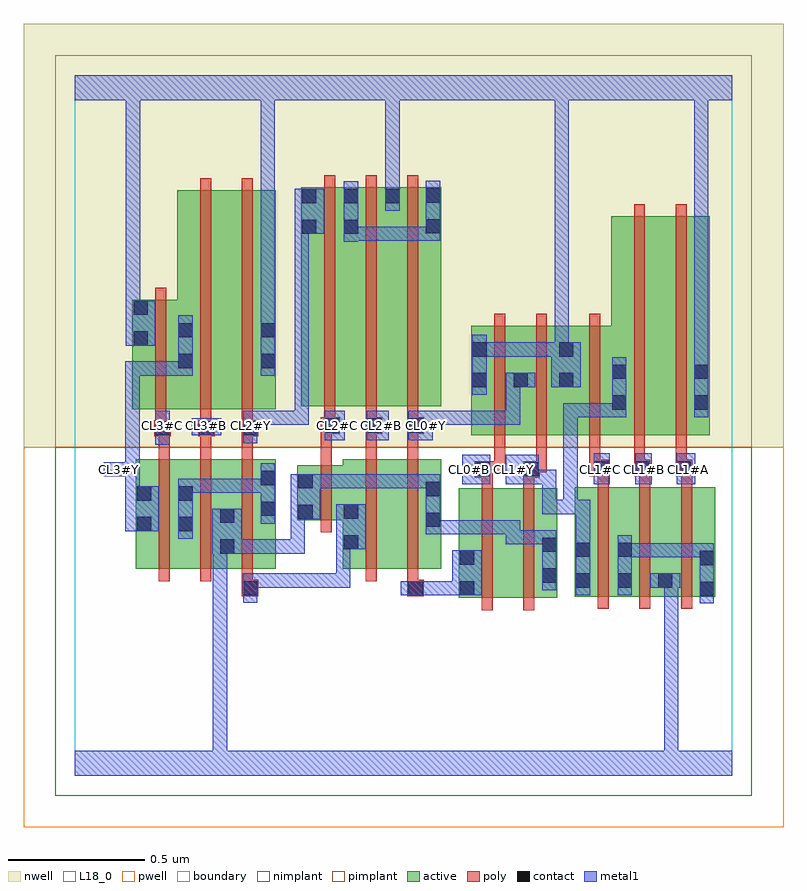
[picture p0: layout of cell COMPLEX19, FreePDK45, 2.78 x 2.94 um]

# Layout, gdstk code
import gdstk
lib = gdstk.Library(unit=1e-6, precision=1e-09)
def R(c, l, rs):  # rectangles x0, y0, x1, y1
    for r in rs: c.add(gdstk.rectangle(r[:2], r[2:], *l))
def A(c, l, x, y, w, h, nx, ny, dx, dy):  # array of equal rectangles
    R(c, l, [(x+i*dx, y+j*dy, x+i*dx+w, y+j*dy+h) for i in range(nx) for j in range(ny)])
active = (1, 0)
pwell = (2, 0)
nwell = (3, 0)
nimplant = (4, 0)
pimplant = (5, 0)
poly = (9, 0)
contact = (10, 0)
metal1 = (11, 0)
L18_0 = (18, 0)
boundary = (235, 0)

complex19 = lib.new_cell('COMPLEX19')
A(complex19, active, 0.222, 0.756, 0.06, 0.4, 3, 1, 0.152, 0)
R(complex19, active, [(1.402,0.65,1.462,1.05), (1.402,0.65,1.582,1.05), (1.582,0.65,1.762,1.05), (1.826,0.654,1.886,1.054), (1.826,0.654,2.038,1.054), (1.978,0.654,2.186,1.054), (2.126,0.654,2.186,1.054), (2.126,0.654,2.338,1.054), (2.278,0.654,2.338,1.054), (1.978,0.684,2.038,0.856), (1.702,0.702,1.762,1.05), (0.222,0.756,0.434,1.156), (0.374,0.756,0.586,1.156), (0.526,0.756,0.734,1.156), (0.674,0.756,0.734,1.156), (0.978,0.756,1.158,1.156), (0.978,0.756,1.038,1.134), (1.158,0.756,1.338,1.156), (1.278,0.756,1.338,1.156), (0.812,0.934,1.038,1.134), (0.812,0.934,0.872,1.134), (1.448,1.244,1.508,1.644), (1.448,1.244,1.658,1.644), (1.598,1.244,1.658,1.644), (1.598,1.244,1.824,1.644), (1.764,1.244,1.824,1.644), (1.764,1.244,2.018,1.644), (1.958,1.244,2.138,2.044), (1.958,1.244,2.018,1.74), (2.138,1.244,2.318,2.044), (2.258,1.244,2.318,2.044), (0.21,1.34,0.27,1.74), (0.21,1.34,0.434,1.74), (0.374,1.34,0.434,2.14), (0.374,1.34,0.554,2.14), (0.554,1.34,0.734,2.14), (0.674,1.34,0.734,2.044), (0.826,1.35,0.886,2.15), (0.826,1.35,1.038,2.15), (0.978,1.35,1.19,2.15), (0.978,1.35,1.038,2.148), (1.13,1.35,1.338,2.15), (1.278,1.35,1.338,2.15), (1.13,1.686,1.19,2.15)])
R(complex19, pwell, [(-0.188,-0.188,2.588,1.2)])
R(complex19, nwell, [(-0.188,1.2,2.588,2.748)])
R(complex19, nimplant, [(-0.072,-0.072,2.472,1.2)])
R(complex19, pimplant, [(-0.072,1.2,2.472,2.632)])
A(complex19, poly, 1.91, 0.61, 0.04, 0.488, 3, 1, 0.152, 0)
A(complex19, poly, 0.306, 0.712, 0.04, 0.488, 3, 1, 0.152, 0)
A(complex19, poly, 1.91, 1.058, 0.04, 0.076, 3, 1, 0.152, 0)
A(complex19, poly, 0.306, 1.16, 0.04, 0.12, 3, 1, 0.152, 0)
A(complex19, poly, 0.29, 1.24, 0.06, 0.06, 3, 1, 0.16, 0)
A(complex19, poly, 0.91, 1.27, 0.04, 0.076, 3, 1, 0.152, 0)
A(complex19, poly, 0.91, 1.306, 0.04, 0.888, 3, 1, 0.152, 0)
R(complex19, poly, [(1.486,0.606,1.526,1.094), (1.638,0.606,1.678,1.094), (0.61,0.656,0.67,0.716), (1.214,0.656,1.274,0.716), (0.61,0.676,0.65,0.752), (1.214,0.676,1.254,0.752), (1.062,0.712,1.102,1.2), (1.214,0.712,1.254,1.2), (0.898,0.89,0.938,1.178), (1.486,1.054,1.526,1.13), (1.638,1.054,1.678,1.13), (1.46,1.09,1.526,1.15), (1.638,1.09,1.698,1.15), (1.878,1.094,1.95,1.154), (1.91,1.094,1.95,1.134), (1.91,1.094,1.95,1.134), (2.042,1.094,2.102,1.154), (2.062,1.094,2.102,1.134), (2.062,1.094,2.102,1.134), (2.194,1.094,2.254,1.154), (2.214,1.094,2.254,1.134), (2.214,1.094,2.254,1.134), (1.486,1.11,1.526,1.15), (1.486,1.11,1.572,1.15), (1.532,1.11,1.572,1.24), (1.658,1.11,1.698,1.15), (1.658,1.11,1.724,1.15), (1.684,1.11,1.724,1.24), (1.878,1.114,1.918,1.24), (2.042,1.114,2.082,1.24), (2.194,1.114,2.234,1.24), (0.898,1.138,0.938,1.29), (1.062,1.16,1.102,1.29), (1.214,1.16,1.254,1.29), (1.532,1.2,1.572,1.688), (1.684,1.2,1.724,1.688), (1.878,1.2,1.918,1.688), (2.042,1.2,2.082,2.088), (2.194,1.2,2.234,2.088), (0.61,1.24,0.65,1.28), (0.61,1.24,0.65,1.28), (0.898,1.25,0.968,1.31), (1.062,1.25,1.122,1.31), (1.214,1.25,1.254,1.29), (1.214,1.25,1.254,1.29), (1.214,1.25,1.274,1.31), (0.294,1.26,0.334,1.3), (0.294,1.26,0.334,1.3), (0.294,1.26,0.334,1.336), (0.458,1.26,0.498,1.3), (0.458,1.26,0.498,1.3), (0.458,1.26,0.498,1.336), (0.61,1.26,0.65,1.336), (0.91,1.27,0.95,1.31), (0.91,1.27,0.95,1.31), (1.062,1.27,1.102,1.31), (1.062,1.27,1.102,1.31), (0.294,1.296,0.334,1.784), (0.458,1.296,0.498,2.184), (0.61,1.296,0.65,2.184)])
A(complex19, contact, 1.894, 1.098, 0.052, 0.052, 3, 1, 0.152, 0)
A(complex19, contact, 0.294, 1.244, 0.052, 0.052, 3, 1, 0.16, 0)
A(complex19, contact, 0.83, 2.092, 0.052, 0.052, 3, 1, 0.152, 0)
R(complex19, contact, [(2.282,0.658,2.334,0.71), (0.614,0.66,0.666,0.712), (1.218,0.66,1.27,0.712), (1.406,0.66,1.458,0.712), (1.83,0.688,1.882,0.74), (1.982,0.688,2.034,0.74), (2.13,0.688,2.182,0.74), (1.706,0.706,1.758,0.758), (2.282,0.77,2.334,0.822), (1.406,0.772,1.458,0.824), (1.83,0.8,1.882,0.852), (1.982,0.8,2.034,0.852), (0.53,0.812,0.582,0.864), (1.706,0.818,1.758,0.87), (0.982,0.828,1.034,0.88), (0.226,0.894,0.278,0.946), (0.378,0.894,0.43,0.946), (1.282,0.91,1.334,0.962), (0.53,0.924,0.582,0.976), (0.816,0.938,0.868,0.99), (0.982,0.94,1.034,0.992), (0.678,0.95,0.73,1.002), (0.226,1.006,0.278,1.058), (0.378,1.006,0.43,1.058), (1.282,1.022,1.334,1.074), (0.816,1.05,0.868,1.102), (0.678,1.062,0.73,1.114), (1.464,1.094,1.516,1.146), (1.642,1.094,1.694,1.146), (0.912,1.254,0.964,1.306), (1.066,1.254,1.118,1.306), (1.218,1.254,1.27,1.306), (1.962,1.338,2.014,1.39), (2.262,1.338,2.314,1.39), (1.452,1.42,1.504,1.472), (1.602,1.42,1.654,1.472), (1.768,1.42,1.82,1.472), (1.962,1.45,2.014,1.502), (2.262,1.45,2.314,1.502), (0.378,1.49,0.43,1.542), (0.678,1.49,0.73,1.542), (1.452,1.532,1.504,1.584), (1.768,1.532,1.82,1.584), (0.214,1.572,0.266,1.624), (0.378,1.602,0.43,1.654), (0.678,1.602,0.73,1.654), (0.214,1.684,0.266,1.736), (0.83,1.98,0.882,2.032), (0.982,1.98,1.034,2.032), (1.282,1.982,1.334,2.034), (1.282,2.094,1.334,2.146)])
R(complex19, metal1, [(0,0,2.4,0.092), (0.504,0.04,0.556,0.092), (0.504,0.04,0.556,0.092), (0.504,0.04,0.556,0.092), (0.504,0.04,0.556,0.092), (0.504,0.04,0.556,0.092), (0.504,0.04,0.556,0.092), (0.504,0.04,0.556,0.092), (0.504,0.04,0.556,0.092), (0.504,0.04,0.556,0.092), (0.504,0.04,0.556,0.092), (0.504,0.04,0.556,0.092), (0.504,0.04,0.556,0.092), (0.504,0.04,0.556,0.864), (2.152,0.04,2.204,0.74), (2.282,0.63,2.334,0.85), (0.614,0.632,0.666,0.74), (1.19,0.66,1.298,0.712), (1.246,0.66,1.298,0.712), (1.246,0.66,1.298,0.712), (1.246,0.66,1.43,0.712), (1.378,0.66,1.43,0.712), (1.378,0.66,1.43,0.712), (1.378,0.66,1.486,0.824), (1.83,0.66,1.882,0.88), (1.982,0.66,2.034,0.88), (1.706,0.678,1.758,0.898), (0.614,0.688,0.776,0.74), (0.724,0.688,0.776,0.74), (0.724,0.688,0.776,0.74), (0.724,0.688,0.776,0.74), (0.724,0.688,0.95,0.74), (0.898,0.688,0.95,0.74), (0.898,0.688,1.006,0.74), (0.954,0.688,1.006,0.74), (0.954,0.688,1.006,0.88), (2.102,0.688,2.21,0.74), (2.152,0.688,2.204,0.74), (2.152,0.688,2.204,0.74), (2.152,0.688,2.204,0.74), (2.152,0.688,2.204,0.74), (2.152,0.688,2.204,0.74), (2.152,0.688,2.204,0.74), (2.152,0.688,2.204,0.74), (2.152,0.688,2.204,0.74), (2.152,0.688,2.204,0.74), (2.152,0.688,2.204,0.74), (2.152,0.688,2.204,0.74), (2.152,0.688,2.204,0.74), (1.982,0.798,2.034,0.85), (1.982,0.798,2.034,0.85), (1.982,0.798,2.144,0.85), (2.092,0.798,2.144,0.85), (2.092,0.798,2.334,0.85), (2.282,0.798,2.334,0.85), (2.282,0.798,2.334,0.85), (0.502,0.812,0.61,0.976), (0.558,0.812,0.61,0.864), (0.558,0.812,0.61,0.864), (0.558,0.812,0.84,0.864), (0.788,0.812,0.84,0.864), (0.788,0.812,0.84,0.864), (0.788,0.812,0.84,0.864), (0.788,0.812,0.84,0.99), (0.954,0.828,1.062,0.992), (1.83,0.828,1.882,1.008), (1.574,0.846,1.758,0.898), (1.574,0.846,1.626,0.934), (0.378,0.866,0.43,1.086), (1.282,0.882,1.334,1.102), (1.282,0.882,1.444,0.934), (1.392,0.882,1.444,0.934), (1.392,0.882,1.444,0.934), (1.392,0.882,1.444,0.934), (1.392,0.882,1.626,0.934), (1.574,0.882,1.626,0.934), (1.574,0.882,1.626,0.934), (0.184,0.894,0.306,1.058), (0.678,0.922,0.73,1.142), (0.788,0.938,0.84,0.99), (0.788,0.938,0.84,0.99), (0.788,0.938,0.896,1.102), (1.706,0.956,1.836,1.008), (1.706,0.956,1.758,1.118), (1.784,0.956,1.836,1.008), (1.784,0.956,1.836,1.008), (1.784,0.956,1.836,1.362), (1.784,0.956,1.882,1.008), (0.184,1.006,0.236,1.146), (0.378,1.034,0.43,1.086), (0.378,1.034,0.43,1.086), (0.378,1.034,0.61,1.086), (0.558,1.034,0.61,1.086), (0.558,1.034,0.61,1.086), (0.558,1.034,0.61,1.086), (0.558,1.034,0.73,1.086), (0.844,1.05,0.896,1.102), (0.844,1.05,0.896,1.102), (0.844,1.05,0.95,1.102), (0.898,1.05,0.95,1.102), (0.898,1.05,1.006,1.102), (0.954,1.05,1.006,1.102), (0.954,1.05,1.06,1.102), (1.008,1.05,1.06,1.102), (1.008,1.05,1.188,1.102), (1.136,1.05,1.188,1.102), (1.136,1.05,1.188,1.102), (1.136,1.05,1.188,1.102), (1.136,1.05,1.334,1.102), (1.414,1.066,1.516,1.174), (1.574,1.066,1.694,1.174), (1.642,1.066,1.758,1.118), (1.894,1.066,1.954,1.178), (2.046,1.066,2.106,1.178), (2.198,1.066,2.266,1.178), (0.106,1.094,0.236,1.146), (0.184,1.094,0.236,1.514), (0.294,1.21,0.346,1.334), (0.614,1.216,0.666,1.334), (0.912,1.226,0.986,1.334), (1.066,1.226,1.146,1.334), (1.218,1.226,1.306,1.334), (0.426,1.244,0.534,1.306), (0.614,1.282,0.72,1.334), (0.668,1.282,0.72,1.334), (0.668,1.282,0.854,1.334), (0.802,1.282,0.854,1.334), (0.802,1.282,0.854,2.032), (1.254,1.282,1.306,1.334), (1.254,1.282,1.306,1.334), (1.254,1.282,1.516,1.334), (1.464,1.282,1.516,1.334), (1.464,1.282,1.516,1.334), (1.464,1.282,1.516,1.334), (1.464,1.282,1.626,1.334), (1.574,1.282,1.626,1.334), (1.574,1.282,1.626,1.472), (1.784,1.31,1.868,1.362), (1.816,1.31,1.868,1.362), (1.816,1.31,1.868,1.362), (1.816,1.31,2.014,1.362), (1.962,1.31,2.014,1.53), (2.262,1.31,2.314,1.53), (1.452,1.392,1.504,1.612), (1.574,1.42,1.682,1.472), (1.74,1.42,1.848,1.584), (0.184,1.462,0.236,1.514), (0.184,1.462,0.236,1.514), (0.184,1.462,0.236,1.514), (0.184,1.462,0.236,1.514), (0.184,1.462,0.236,1.514), (0.184,1.462,0.43,1.514), (0.378,1.462,0.43,1.682), (0.678,1.462,0.73,1.682), (2.262,1.478,2.314,1.53), (2.262,1.478,2.314,1.53), (2.262,1.478,2.314,1.53), (2.262,1.478,2.314,1.53), (2.262,1.478,2.314,2.52), (1.452,1.532,1.504,1.584), (1.452,1.532,1.504,1.584), (1.452,1.532,1.648,1.584), (1.596,1.532,1.648,1.584), (1.596,1.532,1.648,1.584), (1.596,1.532,1.648,1.584), (1.596,1.532,1.792,1.584), (1.752,1.532,1.804,1.584), (1.752,1.532,1.804,1.584), (1.752,1.532,1.804,1.584), (1.752,1.532,1.804,1.584), (1.752,1.532,1.804,1.584), (1.752,1.532,1.804,1.584), (1.752,1.532,1.804,1.584), (1.752,1.532,1.804,1.584), (1.752,1.532,1.804,2.52), (0.186,1.572,0.294,1.736), (0.678,1.63,0.73,2.52), (0.186,1.684,0.238,1.736), (0.186,1.684,0.238,1.736), (0.186,1.684,0.238,1.736), (0.186,1.684,0.238,1.736), (0.186,1.684,0.238,1.736), (0.186,1.684,0.238,1.736), (0.186,1.684,0.238,1.736), (0.186,1.684,0.238,1.736), (0.186,1.684,0.238,1.736), (0.186,1.684,0.238,1.736), (0.186,1.684,0.238,1.736), (0.186,1.684,0.238,1.736), (0.186,1.684,0.238,1.736), (0.186,1.684,0.238,1.736), (0.186,1.684,0.238,2.52), (0.982,1.952,1.034,2.172), (0.982,1.954,1.06,2.006), (1.008,1.954,1.06,2.006), (1.008,1.954,1.17,2.006), (1.118,1.954,1.17,2.006), (1.118,1.954,1.17,2.006), (1.118,1.954,1.17,2.006), (1.118,1.954,1.334,2.006), (1.282,1.954,1.334,2.174), (0.802,1.98,0.91,2.144), (1.134,2.064,1.186,2.172), (1.134,2.12,1.186,2.52), (0,2.468,2.4,2.56), (0.186,2.468,0.238,2.52), (0.186,2.468,0.238,2.52), (0.678,2.468,0.73,2.52), (0.678,2.468,0.73,2.52), (0.678,2.468,0.73,2.52), (0.678,2.468,0.73,2.52), (0.678,2.468,0.73,2.52), (0.678,2.468,0.73,2.52), (0.678,2.468,0.73,2.52), (0.678,2.468,0.73,2.52), (1.134,2.468,1.186,2.52), (1.134,2.468,1.186,2.52), (1.134,2.468,1.186,2.52), (1.134,2.468,1.186,2.52), (1.134,2.468,1.186,2.52), (1.134,2.468,1.186,2.52), (1.134,2.468,1.186,2.52), (1.134,2.468,1.186,2.52), (1.752,2.468,1.804,2.52), (1.752,2.468,1.804,2.52), (1.752,2.468,1.804,2.52), (1.752,2.468,1.804,2.52), (1.752,2.468,1.804,2.52), (1.752,2.468,1.804,2.52), (1.752,2.468,1.804,2.52), (1.752,2.468,1.804,2.52), (2.262,2.468,2.314,2.52), (2.262,2.468,2.314,2.52), (2.262,2.468,2.314,2.52), (2.262,2.468,2.314,2.52)])
A(complex19, L18_0, 1.894, 1.094, 0.052, 0.052, 3, 1, 0.16, 0)
A(complex19, L18_0, 0.294, 1.254, 0.052, 0.052, 3, 1, 0.16, 0)
A(complex19, L18_0, 0.934, 1.254, 0.052, 0.052, 3, 1, 0.16, 0)
R(complex19, L18_0, [(0,0,2.4,0.092), (0.504,0.04,0.556,0.092), (0.504,0.04,0.556,0.092), (0.504,0.04,0.556,0.092), (0.504,0.04,0.556,0.092), (0.504,0.04,0.556,0.092), (0.504,0.04,0.556,0.092), (0.504,0.04,0.556,0.092), (0.504,0.04,0.556,0.092), (0.504,0.04,0.556,0.092), (0.504,0.04,0.556,0.092), (0.504,0.04,0.556,0.092), (0.504,0.04,0.556,0.092), (0.504,0.04,0.556,0.864), (2.152,0.04,2.204,0.74), (0.614,0.632,0.666,0.74), (1.19,0.66,1.298,0.712), (1.246,0.66,1.298,0.712), (1.246,0.66,1.298,0.712), (1.246,0.66,1.43,0.712), (1.378,0.66,1.43,0.712), (1.378,0.66,1.43,0.712), (1.378,0.66,1.486,0.824), (1.83,0.66,1.882,0.88), (1.706,0.678,1.758,0.898), (0.614,0.688,0.776,0.74), (0.724,0.688,0.776,0.74), (0.724,0.688,0.776,0.74), (0.724,0.688,0.776,0.74), (0.724,0.688,0.95,0.74), (0.898,0.688,0.95,0.74), (0.898,0.688,1.006,0.74), (0.954,0.688,1.006,0.74), (0.954,0.688,1.006,0.88), (2.102,0.688,2.21,0.74), (2.152,0.688,2.204,0.74), (2.152,0.688,2.204,0.74), (2.152,0.688,2.204,0.74), (2.152,0.688,2.204,0.74), (2.152,0.688,2.204,0.74), (2.152,0.688,2.204,0.74), (2.152,0.688,2.204,0.74), (2.152,0.688,2.204,0.74), (2.152,0.688,2.204,0.74), (2.152,0.688,2.204,0.74), (2.152,0.688,2.204,0.74), (2.152,0.688,2.204,0.74), (0.502,0.812,0.61,0.976), (0.558,0.812,0.61,0.864), (0.558,0.812,0.61,0.864), (0.558,0.812,0.84,0.864), (0.788,0.812,0.84,0.864), (0.788,0.812,0.84,0.864), (0.788,0.812,0.84,0.864), (0.788,0.812,0.84,0.99), (0.954,0.828,1.062,0.992), (1.83,0.828,1.882,1.008), (1.574,0.846,1.758,0.898), (1.574,0.846,1.626,0.934), (1.282,0.882,1.334,1.102), (1.282,0.882,1.444,0.934), (1.392,0.882,1.444,0.934), (1.392,0.882,1.444,0.934), (1.392,0.882,1.444,0.934), (1.392,0.882,1.626,0.934), (1.574,0.882,1.626,0.934), (1.574,0.882,1.626,0.934), (0.184,0.894,0.306,1.058), (0.788,0.938,0.84,0.99), (0.788,0.938,0.84,0.99), (0.788,0.938,0.896,1.102), (1.706,0.956,1.836,1.008), (1.706,0.956,1.758,1.118), (1.784,0.956,1.836,1.008), (1.784,0.956,1.836,1.008), (1.784,0.956,1.882,1.008), (1.784,0.956,1.836,1.362), (0.184,1.006,0.236,1.146), (0.844,1.05,0.896,1.102), (0.844,1.05,0.896,1.102), (0.844,1.05,0.95,1.102), (0.898,1.05,0.95,1.102), (0.898,1.05,1.006,1.102), (0.954,1.05,1.006,1.102), (0.954,1.05,1.06,1.102), (1.008,1.05,1.06,1.102), (1.008,1.05,1.188,1.102), (1.136,1.05,1.188,1.102), (1.136,1.05,1.188,1.102), (1.136,1.05,1.188,1.102), (1.136,1.05,1.334,1.102), (1.414,1.066,1.516,1.174), (1.574,1.066,1.694,1.174), (1.642,1.066,1.758,1.118), (1.894,1.066,1.954,1.178), (2.046,1.066,2.106,1.178), (2.198,1.066,2.266,1.178), (0.106,1.094,0.236,1.146), (0.134,1.094,0.186,1.146), (0.184,1.094,0.236,1.514), (1.414,1.094,1.466,1.146), (1.574,1.094,1.626,1.146), (0.294,1.21,0.346,1.334), (0.614,1.216,0.666,1.334), (0.912,1.226,0.986,1.334), (1.066,1.226,1.146,1.334), (1.218,1.226,1.306,1.334), (0.426,1.244,0.534,1.306), (0.614,1.282,0.72,1.334), (0.668,1.282,0.72,1.334), (0.668,1.282,0.854,1.334), (0.802,1.282,0.854,1.334), (0.802,1.282,0.854,2.032), (1.254,1.282,1.306,1.334), (1.254,1.282,1.306,1.334), (1.254,1.282,1.516,1.334), (1.464,1.282,1.516,1.334), (1.464,1.282,1.516,1.334), (1.464,1.282,1.516,1.334), (1.464,1.282,1.626,1.334), (1.574,1.282,1.626,1.334), (1.574,1.282,1.626,1.472), (1.784,1.31,1.868,1.362), (1.816,1.31,1.868,1.362), (1.816,1.31,1.868,1.362), (1.816,1.31,2.014,1.362), (1.962,1.31,2.014,1.53), (2.262,1.31,2.314,1.53), (1.452,1.392,1.504,1.612), (1.574,1.42,1.682,1.472), (1.74,1.42,1.848,1.584), (0.184,1.462,0.236,1.514), (0.184,1.462,0.236,1.514), (0.184,1.462,0.236,1.514), (0.184,1.462,0.236,1.514), (0.184,1.462,0.236,1.514), (0.184,1.462,0.43,1.514), (0.378,1.462,0.43,1.682), (0.678,1.462,0.73,1.682), (2.262,1.478,2.314,1.53), (2.262,1.478,2.314,1.53), (2.262,1.478,2.314,1.53), (2.262,1.478,2.314,1.53), (2.262,1.478,2.314,2.52), (1.452,1.532,1.504,1.584), (1.452,1.532,1.504,1.584), (1.452,1.532,1.648,1.584), (1.596,1.532,1.648,1.584), (1.596,1.532,1.648,1.584), (1.596,1.532,1.648,1.584), (1.596,1.532,1.792,1.584), (1.752,1.532,1.804,1.584), (1.752,1.532,1.804,1.584), (1.752,1.532,1.804,1.584), (1.752,1.532,1.804,1.584), (1.752,1.532,1.804,1.584), (1.752,1.532,1.804,1.584), (1.752,1.532,1.804,1.584), (1.752,1.532,1.804,1.584), (1.752,1.532,1.804,2.52), (0.186,1.572,0.294,1.736), (0.678,1.63,0.73,2.52), (0.186,1.684,0.238,1.736), (0.186,1.684,0.238,1.736), (0.186,1.684,0.238,1.736), (0.186,1.684,0.238,1.736), (0.186,1.684,0.238,1.736), (0.186,1.684,0.238,1.736), (0.186,1.684,0.238,1.736), (0.186,1.684,0.238,1.736), (0.186,1.684,0.238,1.736), (0.186,1.684,0.238,1.736), (0.186,1.684,0.238,1.736), (0.186,1.684,0.238,1.736), (0.186,1.684,0.238,1.736), (0.186,1.684,0.238,1.736), (0.186,1.684,0.238,2.52), (0.802,1.98,0.91,2.144), (1.134,2.064,1.186,2.172), (1.134,2.12,1.186,2.52), (0,2.468,2.4,2.56), (0.186,2.468,0.238,2.52), (0.186,2.468,0.238,2.52), (0.678,2.468,0.73,2.52), (0.678,2.468,0.73,2.52), (0.678,2.468,0.73,2.52), (0.678,2.468,0.73,2.52), (0.678,2.468,0.73,2.52), (0.678,2.468,0.73,2.52), (0.678,2.468,0.73,2.52), (0.678,2.468,0.73,2.52), (1.134,2.468,1.186,2.52), (1.134,2.468,1.186,2.52), (1.134,2.468,1.186,2.52), (1.134,2.468,1.186,2.52), (1.134,2.468,1.186,2.52), (1.134,2.468,1.186,2.52), (1.134,2.468,1.186,2.52), (1.134,2.468,1.186,2.52), (1.752,2.468,1.804,2.52), (1.752,2.468,1.804,2.52), (1.752,2.468,1.804,2.52), (1.752,2.468,1.804,2.52), (1.752,2.468,1.804,2.52), (1.752,2.468,1.804,2.52), (1.752,2.468,1.804,2.52), (1.752,2.468,1.804,2.52), (2.262,2.468,2.314,2.52), (2.262,2.468,2.314,2.52), (2.262,2.468,2.314,2.52), (2.262,2.468,2.314,2.52)])
R(complex19, boundary, [(0,0,2.4,2.56)])
complex19.add(gdstk.Label('CL0#B', (1.44,1.12), layer=11, texttype=0))
complex19.add(gdstk.Label('CL0#Y', (1.28,1.28), layer=11, texttype=0))
complex19.add(gdstk.Label('CL1#A', (2.24,1.12), layer=11, texttype=0))
complex19.add(gdstk.Label('CL1#B', (2.08,1.12), layer=11, texttype=0))
complex19.add(gdstk.Label('CL1#C', (1.92,1.12), layer=11, texttype=0))
complex19.add(gdstk.Label('CL1#Y', (1.6,1.12), layer=11, texttype=0))
complex19.add(gdstk.Label('CL2#B', (1.12,1.28), layer=11, texttype=0))
complex19.add(gdstk.Label('CL2#C', (0.96,1.28), layer=11, texttype=0))
complex19.add(gdstk.Label('CL2#Y', (0.64,1.28), layer=11, texttype=0))
complex19.add(gdstk.Label('CL3#B', (0.48,1.28), layer=11, texttype=0))
complex19.add(gdstk.Label('CL3#C', (0.32,1.28), layer=11, texttype=0))
complex19.add(gdstk.Label('CL3#Y', (0.16,1.12), layer=11, texttype=0))

lib.write_gds('COMPLEX19.gds')
